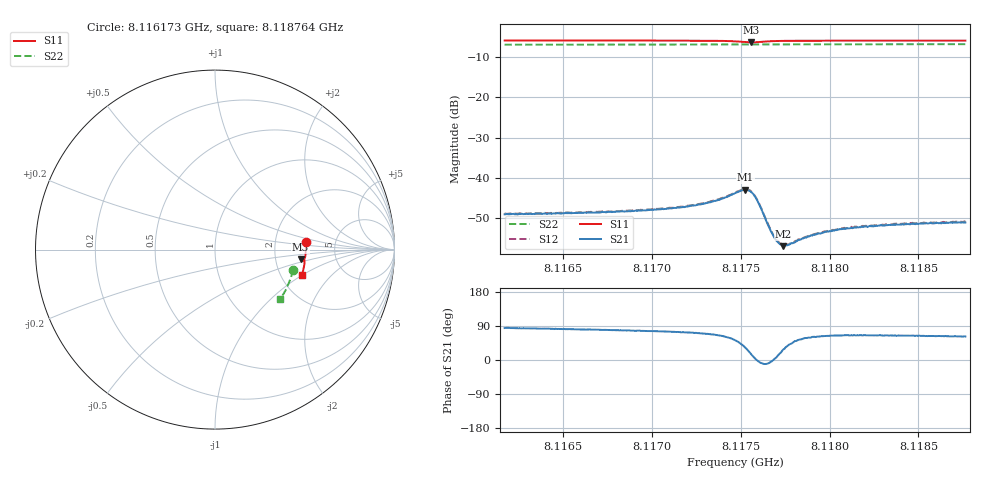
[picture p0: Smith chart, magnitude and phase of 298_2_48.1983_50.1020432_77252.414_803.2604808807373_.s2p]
#  HZ  S  RI  R  50.00
! Rohde & Schwarz Vector Network Analyzer
! Rohde-Schwarz,ZNB20-2Port,1311601062101988,3.16
! Created: UTC 3/20/2024, 11:49:21 AM
! freq[Hz]  re:S11  im:S11  re:S21  im:S21  re:S12  im:S12  re:S22  im:S22
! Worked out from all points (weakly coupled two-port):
!   401 points, 8.116173 GHz to 8.118764 GHz, reference 50 ohm
!   highest |S21| = -42.97 dB at 8.117527 GHz (marker M1); lowest = -57.0 dB at 8.117741 GHz (marker M2)
!   lowest |S11| = -6.4 dB at 8.117559 GHz (marker M3), VSWR 2.84, Z = 139 - j19.3 ohm
!   |S11| at or under -10 dB: nowhere
!   |S22| runs from -7.0 to -6.8 dB; largest |S21 - S12| = 0.00019
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8.116173e9  0.505 0.0451  0.000348 0.0035  0.000385 0.00357  0.4345 -0.1132
8.116607e9  0.5062 0.0124  0.000599 0.00362  0.000662 0.00365  0.4268 -0.1424
8.117041e9  0.505 -0.0213  0.001 0.00393  0.00107 0.00398  0.4175 -0.1711
8.1171835e9  0.5036 -0.0331  0.00127 0.00413  0.00134 0.00422  0.4139 -0.1805
8.1172936e9  0.5017 -0.0429  0.00165 0.00449  0.00173 0.00453  0.4111 -0.1878
8.1173778e9  0.4988 -0.0512  0.00225 0.00481  0.00235 0.00489  0.4087 -0.1932
8.1174685e9  0.4909 -0.0601  0.00393 0.0051  0.00405 0.00513  0.4056 -0.1991
8.1175268e9  0.4802 -0.06  0.006 0.0038  0.00613 0.00381  0.4037 -0.2024
8.1175463e9  0.4773 -0.0566  0.0064 0.00267  0.00655 0.00269  0.403 -0.2034
8.1175592e9  0.4765 -0.0535  0.00642 0.00176  0.00657 0.00175  0.4028 -0.2039
8.1175787e9  0.4779 -0.0489  0.00591 0.000547  0.00603 0.000506  0.4022 -0.2051
8.1175981e9  0.4815 -0.0459  0.00498 -0.000261  0.00505 -0.000304  0.402 -0.2061
8.1176564e9  0.4922 -0.048  0.0025 -0.000375  0.00257 -0.000419  0.4008 -0.2099
8.1176888e9  0.4954 -0.0519  0.00183 5.98e-05  0.00184 2.1e-05  0.3999 -0.2119
8.1177147e9  0.497 -0.055  0.00151 0.000385  0.00154 0.00038  0.3992 -0.2137
8.1177276e9  0.4973 -0.0566  0.00138 0.000504  0.00143 0.000542  0.3988 -0.2145
8.1177406e9  0.4977 -0.0581  0.00125 0.000663  0.00128 0.00069  0.3986 -0.2154
8.1177795e9  0.4985 -0.0624  0.00111 0.00101  0.00113 0.00105  0.3974 -0.2179
8.1179025e9  0.4985 -0.0743  0.000929 0.00167  0.00101 0.00167  0.3935 -0.2257
8.118071e9  0.4967 -0.0886  0.000987 0.00208  0.00102 0.00214  0.3877 -0.2362
8.1183366e9  0.4926 -0.109  0.00112 0.00234  0.00113 0.00238  0.3786 -0.2523
8.1187641e9  0.4845 -0.1404  0.00131 0.00246  0.00137 0.00251  0.362 -0.2775
